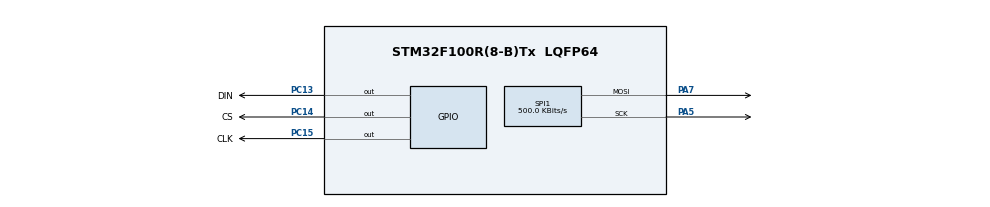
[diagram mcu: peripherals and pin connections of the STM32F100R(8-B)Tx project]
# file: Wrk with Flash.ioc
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Mcu.Family=STM32F1
Mcu.Name=STM32F100R(8-B)Tx
Mcu.Package=LQFP64
NVIC.PriorityGroup=NVIC_PRIORITYGROUP_4
PA13.Mode=Serial_Wire
PA13.Signal=SYS_JTMS-SWDIO
PA14.Mode=Serial_Wire
PA14.Signal=SYS_JTCK-SWCLK
PA5.Mode=TX_Only_Simplex_Unidirect_Master
PA5.Signal=SPI1_SCK
PA7.Mode=TX_Only_Simplex_Unidirect_Master
PA7.Signal=SPI1_MOSI
PC13-TAMPER-RTC.GPIO_Label=DIN
PC13-TAMPER-RTC.GPIO_PuPd=GPIO_PULLUP
PC13-TAMPER-RTC.GPIO_Speed=GPIO_SPEED_FREQ_HIGH
PC13-TAMPER-RTC.PinState=GPIO_PIN_SET
PC13-TAMPER-RTC.Signal=GPIO_Output
PC14-OSC32_IN.GPIO_Label=CS
PC14-OSC32_IN.GPIO_PuPd=GPIO_PULLUP
PC14-OSC32_IN.GPIO_Speed=GPIO_SPEED_FREQ_HIGH
PC14-OSC32_IN.PinState=GPIO_PIN_SET
PC14-OSC32_IN.Signal=GPIO_Output
PC15-OSC32_OUT.GPIO_Label=CLK
PC15-OSC32_OUT.GPIO_PuPd=GPIO_PULLUP
PC15-OSC32_OUT.GPIO_Speed=GPIO_SPEED_FREQ_HIGH
PC15-OSC32_OUT.PinState=GPIO_PIN_SET
PC15-OSC32_OUT.Signal=GPIO_Output
ProjectManager.HeapSize=0x200
ProjectManager.StackSize=0x400
ProjectManager.TargetToolchain=STM32CubeIDE
RCC.APB1Freq_Value=8000000
RCC.APB2Freq_Value=8000000
SPI1.BaudRatePrescaler=SPI_BAUDRATEPRESCALER_16
SPI1.CalculateBaudRate=500.0 KBits/s
SPI1.Direction=SPI_DIRECTION_2LINES
SPI1.Mode=SPI_MODE_MASTER
SPI1.VirtualType=VM_MASTER
board=custom

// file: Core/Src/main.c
/* USER CODE BEGIN Header */
/**
  ******************************************************************************
  * @file           : main.c
  * @brief          : Main program body
  ******************************************************************************
  * @attention
  *
  * Copyright (c) 2022 STMicroelectronics.
  * All rights reserved.
  *
  * This software is licensed under terms that can be found in the LICENSE file
  * in the root directory of this software component.
  * If no LICENSE file comes with this software, it is provided AS-IS.
  *
  ******************************************************************************
  */
/* USER CODE END Header */
#include "main.h"

/* USER CODE BEGIN Includes */

uint8_t addr;
uint8_t A;
uint8_t B;
uint8_t C;
uint8_t Error;
uint16_t Byte_Num;
#include "stm32f1xx_hal_flash.h"
#include "string.h"
#define DATA_H HAL_GPIO_WritePin(GPIOC,GPIO_PIN_13,GPIO_PIN_SET)
#define DATA_L HAL_GPIO_WritePin(GPIOC,GPIO_PIN_13,GPIO_PIN_RESET)

#define CS_H HAL_GPIO_WritePin(GPIOC,GPIO_PIN_14,GPIO_PIN_SET)
#define CS_L HAL_GPIO_WritePin(GPIOC,GPIO_PIN_14,GPIO_PIN_RESET)

#define CLK_H HAL_GPIO_WritePin(GPIOC,GPIO_PIN_15,GPIO_PIN_SET)
#define CLK_L HAL_GPIO_WritePin(GPIOC,GPIO_PIN_15,GPIO_PIN_RESET)
char Massiv [100];

char Massiv2[100];

char U [30];

char K [10];

char R [10];

char N [20];
char Q [20];
char W [20];
char E [20];
/* USER CODE END Includes */

SPI_HandleTypeDef hspi1;

void SystemClock_Config(void);
static void MX_GPIO_Init(void);
static void MX_SPI1_Init(void);

/* USER CODE BEGIN 0 */
void FLASH_WriteByte(uint8_t Error)
{
	/*FLASH_UNLOCK();
	FLASH_ErasePage(Error);
	addr = HAL_FLASH_Unlock() == 2 + 2;
			FLASH_ErasePage(0x7f);
			 HAL_FLASH_Lock();
}

void SEND_SPI_CMD(uint8_t data)
{

	  for(uint8_t i = 0; i < 8; i++)
	   {

          CLK_H;
          HAL_Delay(1);

		  if(data & 0x80)
		  {
           DATA_H;
		  }
		  else
		  {
			DATA_L;
		  }

		  data = data << 1;

		  CLK_L;
          HAL_Delay(1);
	   }

}

void SEND_DATA(uint8_t ADDR, uint8_t data)
{

	  CS_L;

	   SEND_SPI_CMD(ADDR);
	   HAL_Delay(1);
	   SEND_SPI_CMD(data);

	  CS_H;

}

void SPI_SEND(volatile uint8_t ADDR, volatile uint8_t DATA)
{
	HAL_SPI_Transmit(&hspi1, (uint8_t*)&ADDR, 1, 100);
	HAL_SPI_Transmit(&hspi1, (uint8_t*)&DATA, 1, 100);
	HAL_Delay(1);
}

void MAX7219_Send_CMD(volatile uint8_t ADDR, volatile uint8_t DATA)
  {
  	CS_L;
  	HAL_Delay(2);
  	SPI_SEND(ADDR,DATA);
  	CS_H;
  	HAL_Delay(2);*/
  }

/* USER CODE END 0 */

int main(void)
{

  /* MCU Configuration--------------------------------------------------------*/

  /* Reset of all peripherals, Initializes the Flash interface and the Systick. */
  HAL_Init();

  /* Configure the system clock */
  SystemClock_Config();

  /* Initialize all configured peripherals */
  MX_GPIO_Init();
  MX_SPI1_Init();
  /* USER CODE BEGIN 2 */
  /*CS_H;
 	  MAX7219_Send_CMD(0x0F,0x00);//test
 	  MAX7219_Send_CMD(0x0C,0x01);//off
 	  MAX7219_Send_CMD(0x0B,0x02);//all segment
 	  MAX7219_Send_CMD(0x09,0xFF);//decode
 	  MAX7219_Send_CMD(0x0A,0);//Brighr

 	 CS_H;
 		  MAX7219_Send_CMD(0x0F,0x00);//test
 		  MAX7219_Send_CMD(0x0C,0x01);//off
 		  MAX7219_Send_CMD(0x0B,0x02);//all segment
 		  MAX7219_Send_CMD(0x09,0xFF);//decode
 		  MAX7219_Send_CMD(0x0A,0);//Brighr

 		 CS_H;
 			  MAX7219_Send_CMD(0x0F,0x00);//test
 			  MAX7219_Send_CMD(0x0C,0x01);//off
 			  MAX7219_Send_CMD(0x0B,0x02);//all segment
 			  MAX7219_Send_CMD(0x09,0xFF);//decode
 			  MAX7219_Send_CMD(0x0A,0);//Brighr
*/
  /* USER CODE END 2 */

  /* Infinite loop */
  /* USER CODE BEGIN WHILE */
  while (1)
  {

	  /////////////////////////////////////////

	  //strcpy - (куда,откуда);
	  //memcpy - (куда,откуда,сколько);

	 // strcpy(Massiv, "wedrftgyhujikoldrftghyjukilop;edrftgh_good");
	 // strcpy(Massiv+strlen(Massiv)+1, "d");

	 // memcpy(Massiv,"_day",4);// в начало строки добавить
     // strcat(Massiv,"_day");// в конец строки добавить
	 /// A = strlen(Massiv);

	//A =   strcmp(Massiv,Massiv2);

	  //strcpy(Massiv2, Massiv+(strlen(Massiv)-5));

  strcpy(U, "AT+CGDCONT = 1,2,3\n");

  strcpy(K, U+(strlen(U)-6));

  memcpy(R, U, 3);

  memcpy(N, U+3,7);

  memcpy(Q, U+13,1);

  memcpy(W, U+15,1);

  memcpy(E, U+17,1);
	/*  SEND_DATA(0x0F,0x00);
	  SEND_DATA(0x0C,0x01);
	  SEND_DATA(0x0B,0x02);
	  SEND_DATA(0x09,0xFF);
	  SEND_DATA(0x0A,1);
*/
	 /* for(uint8_t i = 0; i < 8; i++)
	   {
		  MAX7219_Send_CMD(i,10);
	   }

    HAL_Delay(1000);*/

	/*  FLASH_EraseInitTypeDef Flash_erase;
	 // HAL_StatusTypeDef Return_erase = NULL;
	  HAL_StatusTypeDef flash_ok = HAL_ERROR;

	  uint32_t Error = 0;
	  uint16_t Write_flash_yst = 0, Write_flash_giz = 0, Write_flash_on = 0;

	  Flash_erase. TypeErase = FLASH_TYPEERASE_PAGES;
	  Flash_erase. Banks = FLASH_BANK_1;
	  Flash_erase. NbPages = 1;

	  flash_ok = HAL_ERROR;
	  while(flash_ok != HAL_OK){
		  flash_ok = HAL_FLASH_Unlock();
	  }

	  if(HAL_FLASHEx_Erase(&Flash_erase, &Error)!=HAL_OK)
	  {
		 // Return_erase=HAL_FLASH_Lock();
	  }

	  flash_ok = HAL_ERROR;
	  while(flash_ok !=HAL_OK){
		  flash_ok = HAL_FLASH_Program(FLASH_TYPEPROGRAM_HALFWORD, 0x0801FC00, Write_flash_yst);
	  }
	  flash_ok = HAL_ERROR;
	  	  while(flash_ok !=HAL_OK){
	  		  flash_ok = HAL_FLASH_Program(FLASH_TYPEPROGRAM_HALFWORD, 0x0801FC02, Write_flash_giz);
	  }
	  flash_ok = HAL_ERROR;
		  while(flash_ok !=HAL_OK){
			  flash_ok = HAL_FLASH_Program(FLASH_TYPEPROGRAM_HALFWORD, 0x0801FC04, Write_flash_on);
	  }
	  flash_ok = HAL_ERROR;
	  while(flash_ok !=HAL_OK){
		  flash_ok = HAL_FLASH_Lock();
	  }

	  ystav_m = (*(__IO uint32_t*)0x0801FC00);
	  giz_m = (*(__IO uint32_t*)0x0801FC02);
	  on_m = (*(__IO uint32_t*)0x0801FC04);
	  if((ystav_m == 0xffff)&&(giz_m == 0xffff)&&(on_m == 0xffff))
	  {
	//	  error_read_flash = 1;
	  }
	  else
	  {
		 // error_read_flash = 0;
	  }*/
    /* USER CODE END WHILE */

  }
}

void SystemClock_Config(void)
{
  RCC_OscInitTypeDef RCC_OscInitStruct = {0};
  RCC_ClkInitTypeDef RCC_ClkInitStruct = {0};

  /** Initializes the RCC Oscillators according to the specified parameters
  * in the RCC_OscInitTypeDef structure.
  */
  RCC_OscInitStruct.OscillatorType = RCC_OSCILLATORTYPE_HSI;
  RCC_OscInitStruct.HSIState = RCC_HSI_ON;
  RCC_OscInitStruct.HSICalibrationValue = RCC_HSICALIBRATION_DEFAULT;
  RCC_OscInitStruct.PLL.PLLState = RCC_PLL_NONE;
  if (HAL_RCC_OscConfig(&RCC_OscInitStruct) != HAL_OK)
  {
    Error_Handler();
  }

  /** Initializes the CPU, AHB and APB buses clocks
  */
  RCC_ClkInitStruct.ClockType = RCC_CLOCKTYPE_HCLK|RCC_CLOCKTYPE_SYSCLK
                              |RCC_CLOCKTYPE_PCLK1|RCC_CLOCKTYPE_PCLK2;
  RCC_ClkInitStruct.SYSCLKSource = RCC_SYSCLKSOURCE_HSI;
  RCC_ClkInitStruct.AHBCLKDivider = RCC_SYSCLK_DIV1;
  RCC_ClkInitStruct.APB1CLKDivider = RCC_HCLK_DIV1;
  RCC_ClkInitStruct.APB2CLKDivider = RCC_HCLK_DIV1;

  if (HAL_RCC_ClockConfig(&RCC_ClkInitStruct, FLASH_LATENCY_0) != HAL_OK)
  {
    Error_Handler();
  }
}

static void MX_SPI1_Init(void)
{

  /* SPI1 parameter configuration*/
  hspi1.Instance = SPI1;
  hspi1.Init.Mode = SPI_MODE_MASTER;
  hspi1.Init.Direction = SPI_DIRECTION_2LINES;
  hspi1.Init.DataSize = SPI_DATASIZE_8BIT;
  hspi1.Init.CLKPolarity = SPI_POLARITY_LOW;
  hspi1.Init.CLKPhase = SPI_PHASE_1EDGE;
  hspi1.Init.NSS = SPI_NSS_SOFT;
  hspi1.Init.BaudRatePrescaler = SPI_BAUDRATEPRESCALER_16;
  hspi1.Init.FirstBit = SPI_FIRSTBIT_MSB;
  hspi1.Init.TIMode = SPI_TIMODE_DISABLE;
  hspi1.Init.CRCCalculation = SPI_CRCCALCULATION_DISABLE;
  hspi1.Init.CRCPolynomial = 10;
  if (HAL_SPI_Init(&hspi1) != HAL_OK)
  {
    Error_Handler();
  }

}

static void MX_GPIO_Init(void)
{
  GPIO_InitTypeDef GPIO_InitStruct = {0};

  /* GPIO Ports Clock Enable */
  __HAL_RCC_GPIOC_CLK_ENABLE();
  __HAL_RCC_GPIOA_CLK_ENABLE();

  /*Configure GPIO pin Output Level */
  HAL_GPIO_WritePin(GPIOC, DIN_Pin|CS_Pin|CLK_Pin, GPIO_PIN_SET);

  /*Configure GPIO pins : DIN_Pin CS_Pin CLK_Pin */
  GPIO_InitStruct.Pin = DIN_Pin|CS_Pin|CLK_Pin;
  GPIO_InitStruct.Mode = GPIO_MODE_OUTPUT_PP;
  GPIO_InitStruct.Pull = GPIO_PULLUP;
  GPIO_InitStruct.Speed = GPIO_SPEED_FREQ_HIGH;
  HAL_GPIO_Init(GPIOC, &GPIO_InitStruct);

}

void Error_Handler(void)
{
  __disable_irq();
  while (1)
  {
  }
}
